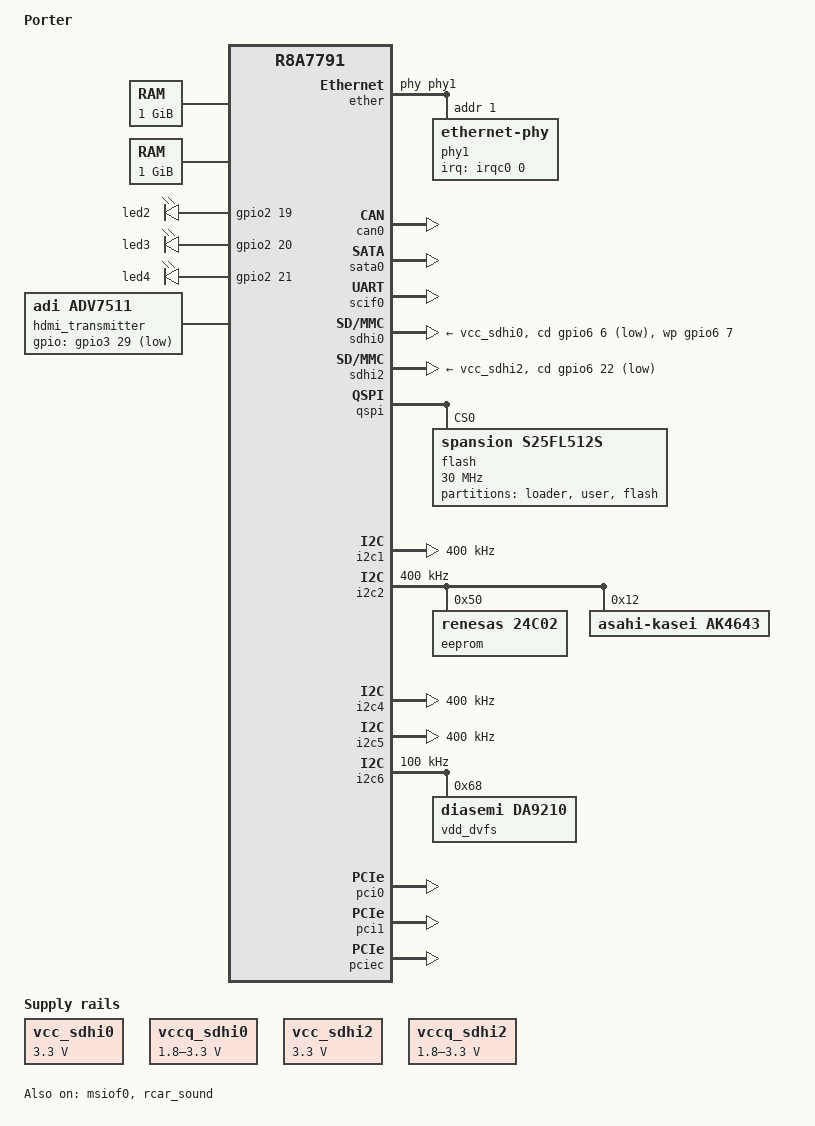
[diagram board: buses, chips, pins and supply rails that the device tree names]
/*
 * Device Tree Source for the Porter board
 *
 * Copyright (C) 2015 Renesas Electronics Corporation
 * Copyright (C) 2015 Cogent Embedded, Inc.
 *
 * This file is licensed under the terms of the GNU General Public License
 * version 2.  This program is licensed "as is" without any warranty of any
 * kind, whether express or implied.
 */

/*
 * SSI-AK4643
 *
 * This command is required when Playback/Capture
 *
 *	amixer set "LINEOUT Mixer DACL" on
 *	amixer set "DVC Out" 100%
 *	amixer set "DVC In" 100%
 *
 * You can use Mute
 *
 *	amixer set "DVC Out Mute" on
 *	amixer set "DVC In Mute" on
 */

/dts-v1/;
#include "r8a7791.dtsi"
#include <dt-bindings/gpio/gpio.h>

/ {
	model = "Porter";
	compatible = "renesas,porter", "renesas,r8a7791";

	aliases {
		serial6 = &scif0;
	};

	chosen {
		bootargs = "console=ttySC6,38400 ignore_loglevel rw root=/dev/nfs ip=dhcp vmalloc=384M";
	};

	memory@40000000 {
		device_type = "memory";
		reg = <0 0x40000000 0 0x40000000>;
	};

	memory@200000000 {
		device_type = "memory";
		reg = <2 0x00000000 0 0x40000000>;
	};

	leds {
		compatible = "gpio-leds";
		led2 {
			gpios = <&gpio2 19 GPIO_ACTIVE_HIGH>;
		};
		led3 {
			gpios = <&gpio2 20 GPIO_ACTIVE_HIGH>;
		};
		led4 {
			gpios = <&gpio2 21 GPIO_ACTIVE_HIGH>;
		};
	};

	vcc_sdhi0: regulator@0 {
		compatible = "regulator-fixed";

		regulator-name = "SDHI0 Vcc";
		regulator-min-microvolt = <3300000>;
		regulator-max-microvolt = <3300000>;
		regulator-always-on;
	};

	vccq_sdhi0: regulator@1 {
		compatible = "regulator-gpio";

		regulator-name = "SDHI0 VccQ";
		regulator-min-microvolt = <1800000>;
		regulator-max-microvolt = <3300000>;

		gpios = <&gpio2 12 GPIO_ACTIVE_HIGH>;
		gpios-states = <1>;
		states = <3300000 1
			  1800000 0>;
	};

	vcc_sdhi2: regulator@2 {
		compatible = "regulator-fixed";

		regulator-name = "SDHI2 Vcc";
		regulator-min-microvolt = <3300000>;
		regulator-max-microvolt = <3300000>;
		regulator-always-on;
	};

	vccq_sdhi2: regulator@3 {
		compatible = "regulator-gpio";

		regulator-name = "SDHI2 VccQ";
		regulator-min-microvolt = <1800000>;
		regulator-max-microvolt = <3300000>;

		gpios = <&gpio2 26 GPIO_ACTIVE_HIGH>;
		gpios-states = <1>;
		states = <3300000 1
			  1800000 0>;
	};

	sound {
		compatible = "simple-audio-card";

		simple-audio-card,format = "i2s";

		sndcpu: simple-audio-card,cpu {
			sound-dai = <&rcar_sound>;
		};

		sndcodec: simple-audio-card,codec {
			sound-dai = <&ak4643>;
			system-clock-frequency = <11289600>;
		};
	};

	hdmi_transmitter: adv7511 {
		compatible = "adi,adv7511";
		gpios = <&gpio3 29 GPIO_ACTIVE_LOW>;

		adi,input-style = <0x02>;
		adi,input-id = <0x00>;
		adi,input-color-depth = <0x03>;
		adi,sync-pulse = <0x03>;
		adi,bit-justification = <0x01>;
		adi,up-conversion = <0x00>;
		adi,timing-generation-sequence = <0x00>;
		adi,vsync-polarity = <0x02>;
		adi,hsync-polarity = <0x02>;
		adi,clock-delay = <0x03>;
	};

	usbhs_udc {
		gpios = <&gpio5 31 GPIO_ACTIVE_HIGH>;
	};
};

&extal_clk {
	clock-frequency = <20000000>;
};

&pfc {
	pinctrl-0 = <&du_pins &usb0_pins &usb1_pins &vin0_pins>;
	pinctrl-names = "default";

	du_pins: du {
		renesas,groups = "du_rgb666", "du_sync", "du_clk_out_0";
		renesas,function = "du";
	};

	scif0_pins: serial6 {
		renesas,groups = "scif0_data_d";
		renesas,function = "scif0";
	};

	i2c1_pins: i2c1 {
		renesas,groups = "i2c1_e";
		renesas,function = "i2c1";
	};

	i2c2_pins: i2c2 {
		renesas,groups = "i2c2";
		renesas,function = "i2c2";
	};

	i2c4_pins: i2c4 {
		renesas,groups = "i2c4_c";
		renesas,function = "i2c4";
	};

	ether_pins: ether {
		renesas,groups = "eth_link", "eth_mdio", "eth_rmii";
		renesas,function = "eth";
	};

	phy1_pins: phy1 {
		renesas,groups = "intc_irq0";
		renesas,function = "intc";
	};

	sdhi0_pins: sd0 {
		renesas,groups = "sdhi0_data4", "sdhi0_ctrl";
		renesas,function = "sdhi0";
	};

	sdhi2_pins: sd2 {
		renesas,groups = "sdhi2_data4", "sdhi2_ctrl";
		renesas,function = "sdhi2";
	};

	qspi_pins: spi0 {
		renesas,groups = "qspi_ctrl", "qspi_data4";
		renesas,function = "qspi";
	};

	msiof0_pins: spi1 {
		renesas,groups = "msiof0_clk", "msiof0_sync", "msiof0_rx",
				 "msiof0_tx";
		renesas,function = "msiof0";
	};

	sound_pins: sound {
		renesas,groups = "ssi0129_ctrl", "ssi0_data", "ssi1_data";
		renesas,function = "ssi";
	};

	sound_clk_pins: sound_clk {
		renesas,groups = "audio_clk_a";
		renesas,function = "audio_clk";
	};

	usb0_pins: usb0 {
		renesas,groups = "usb0";
		renesas,function = "usb0";
	};

	usb1_pins: usb1 {
		renesas,groups = "usb1";
		renesas,function = "usb1";
	};

	vin0_pins: vin0 {
		renesas,groups = "vin0_data8", "vin0_clk";
		renesas,function = "vin0";
	};

	can0_pins: can0 {
		renesas,groups = "can0_data_b";
		renesas,function = "can0";
	};
};

&ether {
	pinctrl-0 = <&ether_pins &phy1_pins>;
	pinctrl-names = "default";

	phy-handle = <&phy1>;
	renesas,ether-link-active-low;
	status = "ok";

	phy1: ethernet-phy@1 {
		reg = <1>;
		interrupt-parent = <&irqc0>;
		interrupts = <0 IRQ_TYPE_LEVEL_LOW>;
		micrel,led-mode = <1>;
	};
};

&can0 {
	pinctrl-0 = <&can0_pins>;
	pinctrl-names = "default";
	renesas,can-clock-select = <0x0>;
	status = "okay";
};

&sata0 {
	status = "okay";
};

&scif0 {
	pinctrl-0 = <&scif0_pins>;
	pinctrl-names = "default";

	status = "okay";
};

&sdhi0 {
	pinctrl-0 = <&sdhi0_pins>;
	pinctrl-names = "default";

	vmmc-supply = <&vcc_sdhi0>;
	vqmmc-supply = <&vccq_sdhi0>;
	cd-gpios = <&gpio6 6 GPIO_ACTIVE_LOW>;
	wp-gpios = <&gpio6 7 GPIO_ACTIVE_HIGH>;
	status = "okay";
};

&sdhi2 {
	pinctrl-0 = <&sdhi2_pins>;
	pinctrl-names = "default";

	vmmc-supply = <&vcc_sdhi2>;
	vqmmc-supply = <&vccq_sdhi2>;
	cd-gpios = <&gpio6 22 GPIO_ACTIVE_LOW>;
	toshiba,mmc-wrprotect-disable;
	status = "okay";
};

&qspi {
	pinctrl-0 = <&qspi_pins>;
	pinctrl-names = "default";

	status = "okay";

	flash: flash@0 {
		#address-cells = <1>;
		#size-cells = <1>;
		compatible = "spansion,s25fl512s";
		reg = <0>;
		spi-max-frequency = <30000000>;
		spi-tx-bus-width = <4>;
		spi-rx-bus-width = <4>;
		m25p,fast-read;
		spi-cpol;
		spi-cpha;

		partition@0 {
			label = "loader";
			reg = <0x00000000 0x00040000>;
			read-only;
		};
		partition@40000 {
			label = "user";
			reg = <0x00040000 0x00400000>;
			read-only;
		};
		partition@440000 {
			label = "flash";
			reg = <0x00440000 0x03bc0000>;
		};
	};
};

&msiof0 {
	pinctrl-0 = <&msiof0_pins>;
	pinctrl-names = "default";

	status = "okay";
};

&i2c1 {
	pinctrl-0 = <&i2c1_pins>;
	pinctrl-names = "default";

	status = "okay";
	clock-frequency = <400000>;
};

&i2c2 {
	pinctrl-0 = <&i2c2_pins>;
	pinctrl-names = "default";

	status = "okay";
	clock-frequency = <400000>;

	eeprom@50 {
		compatible = "renesas,24c02";
		reg = <0x50>;
		pagesize = <16>;
	};

	ak4643: sound-codec@12 {
		#sound-dai-cells = <0>;
		compatible = "asahi-kasei,ak4643";
		reg = <0x12>;
	};
};

&i2c4 {
	pinctrl-0 = <&i2c4_pins>;
	pinctrl-names = "default";

	status = "okay";
	clock-frequency = <400000>;
};

&i2c5 {
	status = "okay";
	clock-frequency = <400000>;
};

&i2c6 {
	status = "okay";
	clock-frequency = <100000>;

	vdd_dvfs: regulator@68 {
		compatible = "diasemi,da9210";
		reg = <0x68>;

		regulator-min-microvolt = <1000000>;
		regulator-max-microvolt = <1000000>;
		regulator-boot-on;
		regulator-always-on;
	};
};

&pci0 {
	status = "okay";
	pinctrl-0 = <&usb0_pins>;
	pinctrl-names = "default";
};

&pci1 {
	status = "okay";
	pinctrl-0 = <&usb1_pins>;
	pinctrl-names = "default";
};

&pcie_bus_clk {
	status = "okay";
};

&pciec {
	status = "okay";
};

&cpu0 {
	cpu0-supply = <&vdd_dvfs>;
};

&rcar_sound {
	pinctrl-0 = <&sound_pins &sound_clk_pins>;
	pinctrl-names = "default";

	#sound-dai-cells = <0>;

	status = "okay";

	rcar_sound,dai {
		dai0 {
			playback = <&ssi0 &src0 &dvc0>;
			capture  = <&ssi1 &src1 &dvc1>;
		};
	};
};

&ssi1 {
	shared-pin;
};
